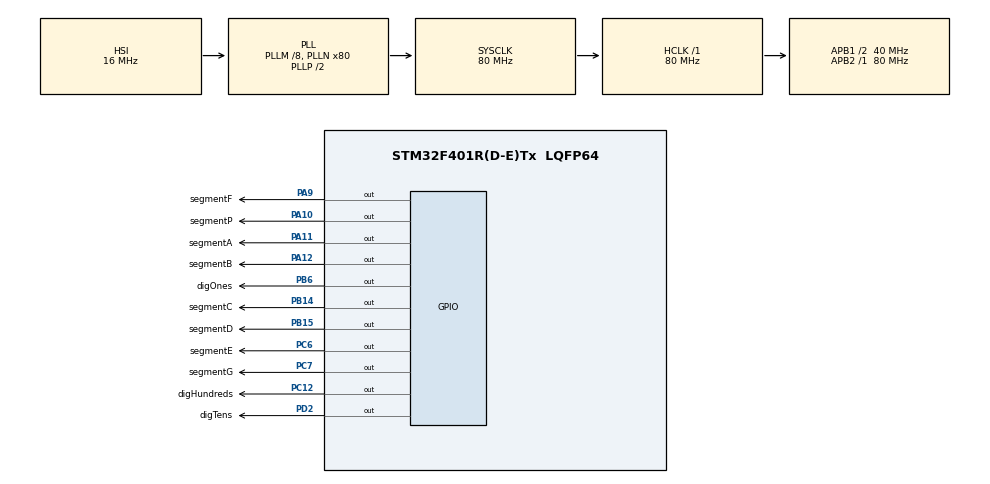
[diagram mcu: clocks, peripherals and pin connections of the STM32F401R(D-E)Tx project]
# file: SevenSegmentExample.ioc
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Mcu.Family=STM32F4
Mcu.Name=STM32F401R(D-E)Tx
Mcu.Package=LQFP64
NVIC.PriorityGroup=NVIC_PRIORITYGROUP_4
NVIC.TIM2_IRQn=true\:0\:0\:false\:false\:true\:true\:true\:true
PA10.GPIO_Label=segmentP
PA10.Signal=GPIO_Output
PA11.GPIO_Label=segmentA
PA11.Signal=GPIO_Output
PA12.GPIO_Label=segmentB
PA12.Signal=GPIO_Output
PA13.Signal=SYS_JTMS-SWDIO
PA14.Signal=SYS_JTCK-SWCLK
PA5.Signal=SPI1_SCK
PA6.Signal=SPI1_MISO
PA9.GPIO_Label=segmentF
PA9.Signal=GPIO_Output
PB14.GPIO_Label=segmentC
PB14.Signal=GPIO_Output
PB15.GPIO_Label=segmentD
PB15.Signal=GPIO_Output
PB3.Signal=SYS_JTDO-SWO
PB6.GPIO_Label=digOnes
PB6.Signal=GPIO_Output
PC12.GPIO_Label=digHundreds
PC12.Signal=GPIO_Output
PC14-OSC32_IN.Signal=RCC_OSC32_IN
PC15-OSC32_OUT.Signal=RCC_OSC32_OUT
PC6.GPIO_Label=segmentE
PC6.Signal=GPIO_Output
PC7.GPIO_Label=segmentG
PC7.Signal=GPIO_Output
PD2.GPIO_Label=digTens
PD2.Signal=GPIO_Output
ProjectManager.HeapSize=0x200
ProjectManager.StackSize=0x400
ProjectManager.TargetToolchain=STM32CubeIDE
RCC.48MHZClocksFreq_Value=40000000
RCC.AHBFreq_Value=80000000
RCC.APB1CLKDivider=RCC_HCLK_DIV2
RCC.APB1Freq_Value=40000000
RCC.APB1TimFreq_Value=80000000
RCC.APB2Freq_Value=80000000
RCC.APB2TimFreq_Value=80000000
RCC.CortexFreq_Value=80000000
RCC.HCLKFreq_Value=80000000
RCC.HSE_VALUE=25000000
RCC.HSI_VALUE=16000000
RCC.LSE_VALUE=32768
RCC.PLLM=8
RCC.PLLN=80
RCC.SYSCLKFreq_VALUE=80000000
RCC.SYSCLKSource=RCC_SYSCLKSOURCE_PLLCLK
RCC.VCOOutputFreq_Value=160000000
TIM10.Period=65485 - 1
TIM10.Prescaler=8000 - 1
TIM11.Period=10000 - 1
TIM11.Prescaler=8000 - 1
TIM2.Period=33333 - 1
TIM2.Prescaler=8-1
VP_TIM10_VS_ClockSourceINT.Mode=Enable_Timer
VP_TIM11_VS_ClockSourceINT.Mode=Enable_Timer
VP_TIM2_VS_ClockSourceINT.Mode=Internal
board=custom

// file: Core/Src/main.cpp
/* USER CODE BEGIN Header */
/**
  ******************************************************************************
  * @file           : main.c
  * @brief          : Main program body
  ******************************************************************************
  * @attention
  *
  * Copyright (c) 2025 STMicroelectronics.
  * All rights reserved.
  *
  * This software is licensed under terms that can be found in the LICENSE file
  * in the root directory of this software component.
  * If no LICENSE file comes with this software, it is provided AS-IS.
  *
  ******************************************************************************
  */
/* USER CODE END Header */
#include "main.h"

/* USER CODE BEGIN Includes */
#include "../myLibrary/Inc/SevenSegment.h"
/* USER CODE END Includes */

TIM_HandleTypeDef htim2;
TIM_HandleTypeDef htim10;
TIM_HandleTypeDef htim11;

/* USER CODE BEGIN PV */
volatile SevenSegment *pDisplay = nullptr;
/* USER CODE END PV */

void SystemClock_Config(void);
static void MX_GPIO_Init(void);
static void MX_TIM10_Init(void);
static void MX_TIM11_Init(void);
static void MX_TIM2_Init(void);

int main(void)
{

  /* MCU Configuration--------------------------------------------------------*/

  /* Reset of all peripherals, Initializes the Flash interface and the Systick. */
  HAL_Init();

  /* Configure the system clock */
  SystemClock_Config();

  /* Initialize all configured peripherals */
  MX_GPIO_Init();
  MX_TIM10_Init();
  MX_TIM11_Init();
  MX_TIM2_Init();
  /* USER CODE BEGIN 2 */

	//Seven segment initialize
	SevenSegment display;

	static segmentsPin segPin[8];
	segPin[0].port = segmentA_GPIO_Port;
	segPin[0].pin = segmentA_Pin;
	segPin[1].port = segmentB_GPIO_Port;
	segPin[1].pin = segmentB_Pin;
	segPin[2].port = segmentC_GPIO_Port;
	segPin[2].pin = segmentC_Pin;
	segPin[3].port = segmentD_GPIO_Port;
	segPin[3].pin = segmentD_Pin;
	segPin[4].port = segmentE_GPIO_Port;
	segPin[4].pin = segmentE_Pin;
	segPin[5].port = segmentF_GPIO_Port;
	segPin[5].pin = segmentF_Pin;
	segPin[6].port = segmentG_GPIO_Port;
	segPin[6].pin = segmentG_Pin;
	segPin[7].port = segmentP_GPIO_Port;
	segPin[7].pin = segmentP_Pin;

	segmentDigit segDig[3];
	segDig[0].port = digOnes_GPIO_Port;
	segDig[0].pin = digOnes_Pin;
	segDig[1].port = digTens_GPIO_Port;
	segDig[1].pin = digTens_Pin;
	segDig[2].port = digHundreds_GPIO_Port;
	segDig[2].pin = digHundreds_Pin;

	display.intilization(segPin, segDig, 3, true);
	pDisplay = &display;

	//Start the Timer TIM2 in Interrupt mode
	  if (HAL_TIM_Base_Start_IT(&htim2) != HAL_OK)
	  {
	    /* Starting Error */
	    Error_Handler();
	  }
	  HAL_NVIC_SetPriority(TIM2_IRQn, 1, 0);

	//display.setNumber(-3);
 	//display.setNumberF(1.5);
 	//display.message("FFF");
 	display << "tEh";

  /* USER CODE END 2 */

  /* Infinite loop */
  while (1)
  {

  }
}

void SystemClock_Config(void)
{
  RCC_OscInitTypeDef RCC_OscInitStruct = {0};
  RCC_ClkInitTypeDef RCC_ClkInitStruct = {0};

  /** Configure the main internal regulator output voltage
  */
  __HAL_RCC_PWR_CLK_ENABLE();
  __HAL_PWR_VOLTAGESCALING_CONFIG(PWR_REGULATOR_VOLTAGE_SCALE2);

  /** Initializes the RCC Oscillators according to the specified parameters
  * in the RCC_OscInitTypeDef structure.
  */
  RCC_OscInitStruct.OscillatorType = RCC_OSCILLATORTYPE_HSI;
  RCC_OscInitStruct.HSIState = RCC_HSI_ON;
  RCC_OscInitStruct.HSICalibrationValue = RCC_HSICALIBRATION_DEFAULT;
  RCC_OscInitStruct.PLL.PLLState = RCC_PLL_ON;
  RCC_OscInitStruct.PLL.PLLSource = RCC_PLLSOURCE_HSI;
  RCC_OscInitStruct.PLL.PLLM = 8;
  RCC_OscInitStruct.PLL.PLLN = 80;
  RCC_OscInitStruct.PLL.PLLP = RCC_PLLP_DIV2;
  RCC_OscInitStruct.PLL.PLLQ = 4;
  if (HAL_RCC_OscConfig(&RCC_OscInitStruct) != HAL_OK)
  {
    Error_Handler();
  }

  /** Initializes the CPU, AHB and APB buses clocks
  */
  RCC_ClkInitStruct.ClockType = RCC_CLOCKTYPE_HCLK|RCC_CLOCKTYPE_SYSCLK
                              |RCC_CLOCKTYPE_PCLK1|RCC_CLOCKTYPE_PCLK2;
  RCC_ClkInitStruct.SYSCLKSource = RCC_SYSCLKSOURCE_PLLCLK;
  RCC_ClkInitStruct.AHBCLKDivider = RCC_SYSCLK_DIV1;
  RCC_ClkInitStruct.APB1CLKDivider = RCC_HCLK_DIV2;
  RCC_ClkInitStruct.APB2CLKDivider = RCC_HCLK_DIV1;

  if (HAL_RCC_ClockConfig(&RCC_ClkInitStruct, FLASH_LATENCY_2) != HAL_OK)
  {
    Error_Handler();
  }
}

static void MX_TIM2_Init(void)
{

  TIM_ClockConfigTypeDef sClockSourceConfig = {0};
  TIM_MasterConfigTypeDef sMasterConfig = {0};

  htim2.Instance = TIM2;
  htim2.Init.Prescaler = 8-1;
  htim2.Init.CounterMode = TIM_COUNTERMODE_UP;
  htim2.Init.Period = 33333 - 1;
  htim2.Init.ClockDivision = TIM_CLOCKDIVISION_DIV1;
  htim2.Init.AutoReloadPreload = TIM_AUTORELOAD_PRELOAD_DISABLE;
  if (HAL_TIM_Base_Init(&htim2) != HAL_OK)
  {
    Error_Handler();
  }
  sClockSourceConfig.ClockSource = TIM_CLOCKSOURCE_INTERNAL;
  if (HAL_TIM_ConfigClockSource(&htim2, &sClockSourceConfig) != HAL_OK)
  {
    Error_Handler();
  }
  sMasterConfig.MasterOutputTrigger = TIM_TRGO_RESET;
  sMasterConfig.MasterSlaveMode = TIM_MASTERSLAVEMODE_DISABLE;
  if (HAL_TIMEx_MasterConfigSynchronization(&htim2, &sMasterConfig) != HAL_OK)
  {
    Error_Handler();
  }

}

static void MX_TIM10_Init(void)
{

  htim10.Instance = TIM10;
  htim10.Init.Prescaler = 8000 - 1;
  htim10.Init.CounterMode = TIM_COUNTERMODE_UP;
  htim10.Init.Period = 65485 - 1;
  htim10.Init.ClockDivision = TIM_CLOCKDIVISION_DIV1;
  htim10.Init.AutoReloadPreload = TIM_AUTORELOAD_PRELOAD_DISABLE;
  if (HAL_TIM_Base_Init(&htim10) != HAL_OK)
  {
    Error_Handler();
  }

}

static void MX_TIM11_Init(void)
{

  htim11.Instance = TIM11;
  htim11.Init.Prescaler = 8000 - 1;
  htim11.Init.CounterMode = TIM_COUNTERMODE_UP;
  htim11.Init.Period = 10000 - 1;
  htim11.Init.ClockDivision = TIM_CLOCKDIVISION_DIV1;
  htim11.Init.AutoReloadPreload = TIM_AUTORELOAD_PRELOAD_DISABLE;
  if (HAL_TIM_Base_Init(&htim11) != HAL_OK)
  {
    Error_Handler();
  }

}

static void MX_GPIO_Init(void)
{
  GPIO_InitTypeDef GPIO_InitStruct = {0};

  /* GPIO Ports Clock Enable */
  __HAL_RCC_GPIOC_CLK_ENABLE();
  __HAL_RCC_GPIOA_CLK_ENABLE();
  __HAL_RCC_GPIOB_CLK_ENABLE();
  __HAL_RCC_GPIOD_CLK_ENABLE();

  /*Configure GPIO pin Output Level */
  HAL_GPIO_WritePin(GPIOB, segmentC_Pin|segmentD_Pin|digOnes_Pin, GPIO_PIN_RESET);

  /*Configure GPIO pin Output Level */
  HAL_GPIO_WritePin(GPIOC, segmentE_Pin|segmentG_Pin|digHundreds_Pin, GPIO_PIN_RESET);

  /*Configure GPIO pin Output Level */
  HAL_GPIO_WritePin(GPIOA, segmentF_Pin|segmentP_Pin|segmentA_Pin|segmentB_Pin, GPIO_PIN_RESET);

  /*Configure GPIO pin Output Level */
  HAL_GPIO_WritePin(digTens_GPIO_Port, digTens_Pin, GPIO_PIN_RESET);

  /*Configure GPIO pins : PA5 PA6 */
  GPIO_InitStruct.Pin = GPIO_PIN_5|GPIO_PIN_6;
  GPIO_InitStruct.Mode = GPIO_MODE_AF_PP;
  GPIO_InitStruct.Pull = GPIO_NOPULL;
  GPIO_InitStruct.Speed = GPIO_SPEED_FREQ_VERY_HIGH;
  GPIO_InitStruct.Alternate = GPIO_AF5_SPI1;
  HAL_GPIO_Init(GPIOA, &GPIO_InitStruct);

  /*Configure GPIO pins : segmentC_Pin segmentD_Pin digOnes_Pin */
  GPIO_InitStruct.Pin = segmentC_Pin|segmentD_Pin|digOnes_Pin;
  GPIO_InitStruct.Mode = GPIO_MODE_OUTPUT_PP;
  GPIO_InitStruct.Pull = GPIO_NOPULL;
  GPIO_InitStruct.Speed = GPIO_SPEED_FREQ_LOW;
  HAL_GPIO_Init(GPIOB, &GPIO_InitStruct);

  /*Configure GPIO pins : segmentE_Pin segmentG_Pin digHundreds_Pin */
  GPIO_InitStruct.Pin = segmentE_Pin|segmentG_Pin|digHundreds_Pin;
  GPIO_InitStruct.Mode = GPIO_MODE_OUTPUT_PP;
  GPIO_InitStruct.Pull = GPIO_NOPULL;
  GPIO_InitStruct.Speed = GPIO_SPEED_FREQ_LOW;
  HAL_GPIO_Init(GPIOC, &GPIO_InitStruct);

  /*Configure GPIO pins : segmentF_Pin segmentP_Pin segmentA_Pin segmentB_Pin */
  GPIO_InitStruct.Pin = segmentF_Pin|segmentP_Pin|segmentA_Pin|segmentB_Pin;
  GPIO_InitStruct.Mode = GPIO_MODE_OUTPUT_PP;
  GPIO_InitStruct.Pull = GPIO_NOPULL;
  GPIO_InitStruct.Speed = GPIO_SPEED_FREQ_LOW;
  HAL_GPIO_Init(GPIOA, &GPIO_InitStruct);

  /*Configure GPIO pin : digTens_Pin */
  GPIO_InitStruct.Pin = digTens_Pin;
  GPIO_InitStruct.Mode = GPIO_MODE_OUTPUT_PP;
  GPIO_InitStruct.Pull = GPIO_NOPULL;
  GPIO_InitStruct.Speed = GPIO_SPEED_FREQ_LOW;
  HAL_GPIO_Init(digTens_GPIO_Port, &GPIO_InitStruct);

}

void Error_Handler(void)
{
  __disable_irq();
  while (1)
  {
  }
}
